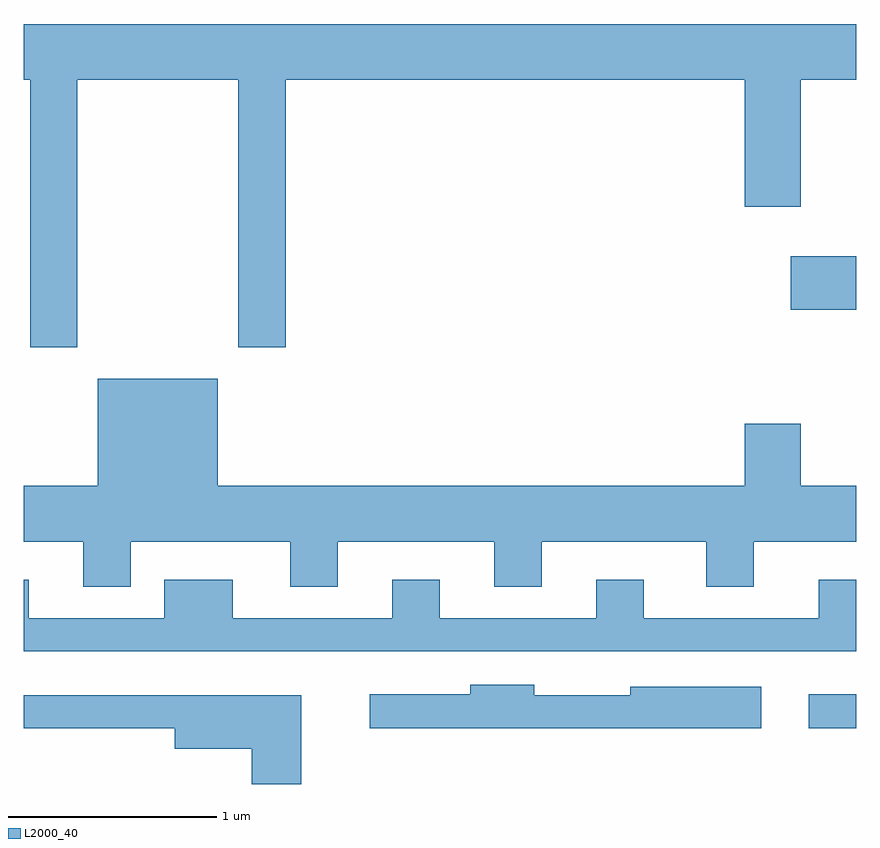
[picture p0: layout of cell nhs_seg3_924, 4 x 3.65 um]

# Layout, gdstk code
import gdstk
lib = gdstk.Library(unit=1e-6, precision=1e-09)
def R(c, l, rs):  # rectangles x0, y0, x1, y1
    for r in rs: c.add(gdstk.rectangle(r[:2], r[2:], *l))
def P(c, l, *ps):  # polygons
    for p in ps: c.add(gdstk.Polygon(p, *l))
L2000_40 = (2000, 40)

nhs_seg3_924 = lib.new_cell('nhs_seg3_924')
R(nhs_seg3_924, L2000_40, [(215.383,1196.161,215.611,1196.324), (215.296,1198.171,215.611,1198.429)])
P(nhs_seg3_924, L2000_40, [(211.869,1199.276),(212.641,1199.276),(212.641,1197.991),(212.869,1197.991),(212.869,1199.276),(215.076,1199.276),(215.076,1198.666),(215.344,1198.666),(215.344,1199.276),(215.611,1199.276),(215.611,1199.544),(211.611,1199.544),(211.611,1199.276),(211.641,1199.276),(211.641,1197.991),(211.869,1197.991)],
  [(212.124,1197.056),(212.891,1197.056),(212.891,1196.841),(213.119,1196.841),(213.119,1197.056),(213.871,1197.056),(213.871,1196.841),(214.099,1196.841),(214.099,1197.056),(214.891,1197.056),(214.891,1196.841),(215.119,1196.841),(215.119,1197.056),(215.611,1197.056),(215.611,1197.324),(215.344,1197.324),(215.344,1197.624),(215.076,1197.624),(215.076,1197.324),(212.544,1197.324),(212.544,1197.839),(211.966,1197.839),(211.966,1197.324),(211.611,1197.324),(211.611,1197.056),(211.896,1197.056),(211.896,1196.841),(212.124,1196.841)],
  [(215.611,1196.874),(215.431,1196.874),(215.431,1196.689),(214.589,1196.689),(214.589,1196.874),(214.361,1196.874),(214.361,1196.689),(213.609,1196.689),(213.609,1196.874),(213.381,1196.874),(213.381,1196.689),(212.614,1196.689),(212.614,1196.874),(212.286,1196.874),(212.286,1196.689),(211.634,1196.689),(211.634,1196.874),(211.611,1196.874),(211.611,1196.531),(215.611,1196.531)],
  [(215.154,1196.359),(214.526,1196.359),(214.526,1196.319),(214.064,1196.319),(214.064,1196.369),(213.756,1196.369),(213.756,1196.324),(213.273,1196.324),(213.273,1196.161),(215.154,1196.161)],
  [(212.944,1196.319),(211.611,1196.319),(211.611,1196.161),(212.336,1196.161),(212.336,1196.061),(212.706,1196.061),(212.706,1195.892),(212.944,1195.892)])

lib.write_gds('nhs_seg3_924.gds')
